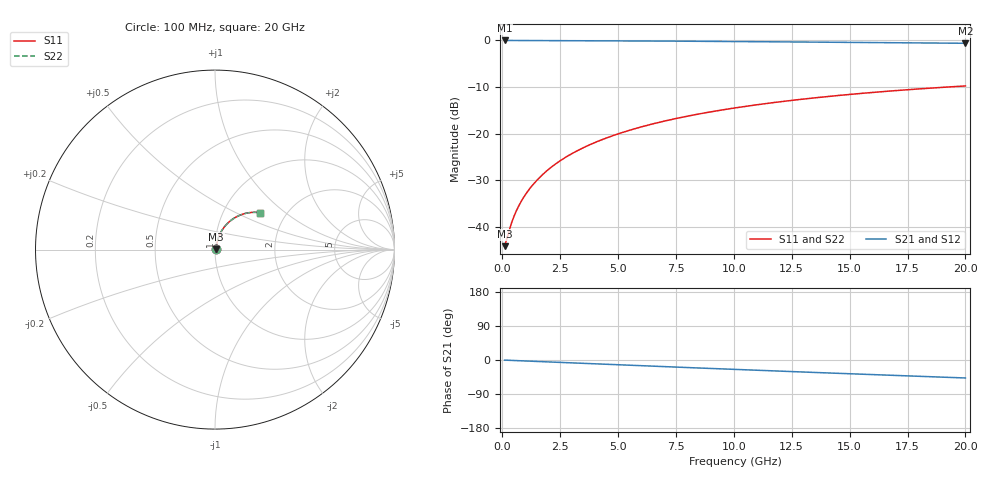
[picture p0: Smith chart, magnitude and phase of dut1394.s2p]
! Touchstone file exported from HFSS 2026.1.0
!  File:  C:/ffzhzh/LocalFiles/Ansys_Project_Files/temp_train_BSMRDL_1394_1783179790_51560.aedt
!  Generated:  11:44:23 PM Jul  4, 2026
!  Design:  BSMRDL
!  Project:  temp_train_BSMRDL_1394_1783179790_51560
! Variables:
!  h_bsmrdl = 3.16um
!  h_ox = 20um
!  h_rdl = 5um
!  h_sub = 80um
!  h_tmrdl = 5um
!  h_tsv = 80um
!  h_via = 3um
!  l_bsmrdl = 783.16um
!  l_sub = 1183.16um
!  l_tmrdl = 200um
!  m_sub = 200um
!  pitch = 27.55um
!  r_tsv = 6um
!  s_tmrdl = 10um
!  w_bsmrdl = 15.51um
!  w_sub = 500um
!  w_tmrdl = 12um
!  x_tsv_center1 = 206um
!  x_tsv_center2 = 1004.67um
!  x_tsv_center3 = 1216.67um
!  x_tsv_center4 = 2015.34um
!  x_tsv_center5 = 2227.34um
!  x_tsv_center6 = 3026.01um
# GHz S MA R 50.000000
! Terminal data exported
! Port[1] = BSM_RDL1_1_T1
! Port[2] = BSM_RDL1_1_T2
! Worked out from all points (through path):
!   200 points, 100 MHz to 20 GHz, reference 50 ohm
!   highest |S21| = -0.05 dB at 100 MHz (marker M1); lowest = -0.7 dB at 20 GHz (marker M2)
!   group delay of S21, straight-line fit = 6.58 ps
!   lowest |S11| = -44.1 dB at 100 MHz (marker M3), VSWR 1.01, Z = 50.6 + j0.238 ohm
!   |S11| at or under -10 dB: start of sweep to 19.3 GHz
!   |S22| runs from -44.1 to -9.8 dB; largest |S21 - S12| = 2.6e-15
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0.1  0.006229 22.2  0.9942 -0.3  0.9942 -0.3  0.006229 22.2
! Gamma 0 0 0 0
! Port Impedance 50 0 50 0
0.3  0.009256 47.4  0.9938 -0.8  0.9938 -0.8  0.009256 47.4
0.4  0.01107 53.6  0.9935 -1.1  0.9935 -1.1  0.01107 53.6
0.6  0.01476 60.9  0.9931 -1.6  0.9931 -1.6  0.01476 60.9
0.7  0.01662 63.3  0.9929 -1.8  0.9929 -1.8  0.01662 63.3
0.9  0.02035 66.9  0.9926 -2.3  0.9926 -2.3  0.02035 66.9
1.2  0.02601 70.2  0.9922 -3.1  0.9922 -3.1  0.02601 70.2
1.4  0.02983 71.6  0.992 -3.6  0.992 -3.6  0.02983 71.6
1.7  0.03562 73.0  0.9916 -4.3  0.9916 -4.3  0.03562 73.0
2.2  0.04533 74.2  0.991 -5.6  0.991 -5.6  0.04533 74.2
2.8  0.05702 74.5  0.9901 -7.1  0.9901 -7.1  0.05702 74.5
3.5  0.07061 74.0  0.9888 -8.9  0.9888 -8.9  0.07062 74.0
4.2  0.08409 73.1  0.9873 -10.6  0.9873 -10.6  0.08409 73.1
5  0.09929 71.7  0.9853 -12.6  0.9853 -12.6  0.09929 71.7
5.9  0.1161 70.0  0.9827 -14.8  0.9827 -14.8  0.1161 70.0
6.8  0.1325 68.1  0.9799 -17.0  0.9799 -17.0  0.1325 68.1
8.3  0.159 64.9  0.9748 -20.7  0.9748 -20.7  0.159 64.8
10.1  0.1892 60.9  0.9681 -25.0  0.9681 -25.0  0.1892 60.8
11.7  0.2146 57.3  0.9617 -28.7  0.9617 -28.7  0.2147 57.3
13.4  0.2401 53.6  0.9547 -32.7  0.9547 -32.7  0.2402 53.5
16.7  0.2851 46.4  0.9409 -40.2  0.9409 -40.2  0.2851 46.4
20  0.3239 39.4  0.9275 -47.4  0.9275 -47.4  0.3239 39.4
